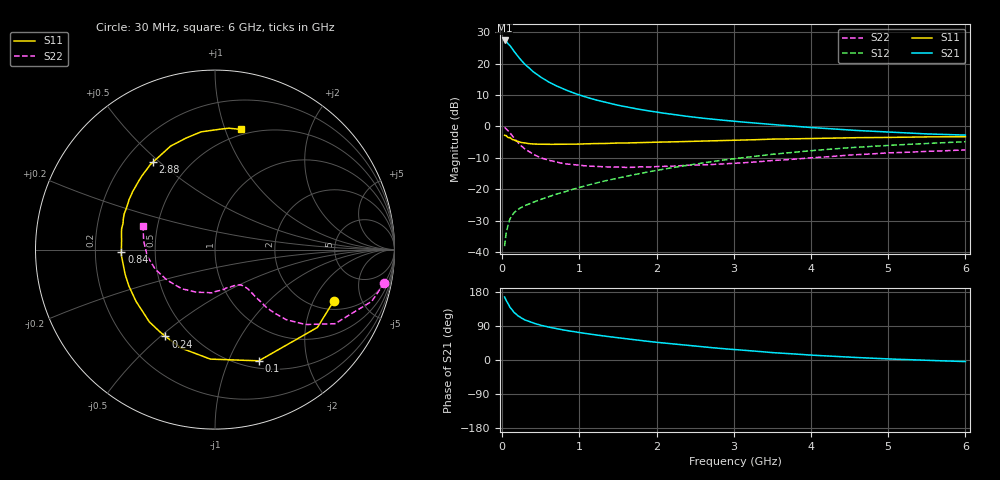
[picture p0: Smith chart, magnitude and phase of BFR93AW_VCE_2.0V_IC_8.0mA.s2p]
! (c) 2015  Infineon Technologies AG, Munich
! Infineon Technologies  Discrete & RF Semiconductors
! BFR93AW
! VCE =  2.0 V,  IC =  8.0 mA
! Common Emitter S-Parameters:  Nov 2015
# GHz  S  MA  R  50
!  f  S11  S21  S12  S22
! GHz  MAG  ANG  MAG  ANG  MAG  ANG  MAG  ANG
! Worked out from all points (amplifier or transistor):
!   206 points, 30 MHz to 6 GHz, reference 50 ohm
!   highest |S21| = 27.4 dB at 30 MHz (marker M1)
!   |S21| within 3 dB of that: start of sweep to 138.5 MHz
!   unconditionally stable (mu >= 1): 780.2 MHz to 2.434 GHz
!   at 200 MHz: K = 0.43, MSG = 24.4 dB, |S12| = -26.5 dB
!   at 1.56 GHz: K = 1.08, MAG = 9.5 dB, |S12| = -16.1 dB
!   at 6 GHz: K = 0.95, MSG = 1.1 dB, |S12| = -4.9 dB
!   S11 on the Smith chart (normalised r, x): 30 MHz: 2.43, -2.91; 100 MHz: 0.58, -1.30; 240 MHz: 0.37, -0.52; 840 MHz: 0.31, -0.01; 2.88 GHz: 0.31, +0.47; 6 GHz: 0.45, +1.13
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0.03  0.7207 -23.5  23.32 166.2  0.0124 77.4  0.9613 -11.1
0.05  0.7167 -37.2  22.58 157.0  0.0198 72.9  0.92 -18.2
0.1  0.666 -68.5  19.3 138.9  0.0339 61.6  0.7858 -31.7
0.15  0.6107 -92.4  15.79 126.0  0.042 53.2  0.6545 -39.6
0.2  0.5802 -109.1  13.14 117.0  0.0474 49.9  0.5579 -44.5
0.24  0.5569 -119.7  11.48 111.8  0.0508 48.9  0.4973 -46.4
0.26  0.5509 -124.3  10.77 109.3  0.0524 48.6  0.472 -47.2
0.3  0.544 -132.3  9.552 105.1  0.0553 48.3  0.4313 -48.3
0.4  0.5259 -146.9  7.412 97.4  0.062 49.3  0.3597 -49.2
0.5  0.5209 -157.3  6.056 91.5  0.0689 51.5  0.3154 -49.7
0.6  0.5193 -164.7  5.102 86.8  0.0758 53.5  0.2893 -49.9
0.7  0.5185 -171.2  4.425 82.8  0.0835 55.5  0.2714 -50.8
0.84  0.5217 -178.5  3.73 77.8  0.0935 57.6  0.252 -52.6
1.04  0.5249 172.9  3.047 71.3  0.1101 59.7  0.2378 -56.0
1.2  0.533 167.4  2.66 66.6  0.1236 61.0  0.2309 -59.5
1.5  0.5436 158.5  2.169 58.6  0.1509 62.0  0.2258 -67.7
2.02  0.5616 144.4  1.672 46.3  0.2016 61.2  0.23 -83.8
2.88  0.5971 125.5  1.247 29.7  0.2929 56.1  0.2536 -110.0
3.1  0.605 120.9  1.178 26.1  0.3159 54.1  0.2626 -117.1
4.1  0.6451 102.8  0.942 11.9  0.4195 43.7  0.3217 -150.6
5.1  0.6693 88.6  0.8 2.0  0.5061 31.9  0.3821 -177.1
6  0.6848 77.9  0.727 -4.2  0.5699 21.9  0.4227 161.8
